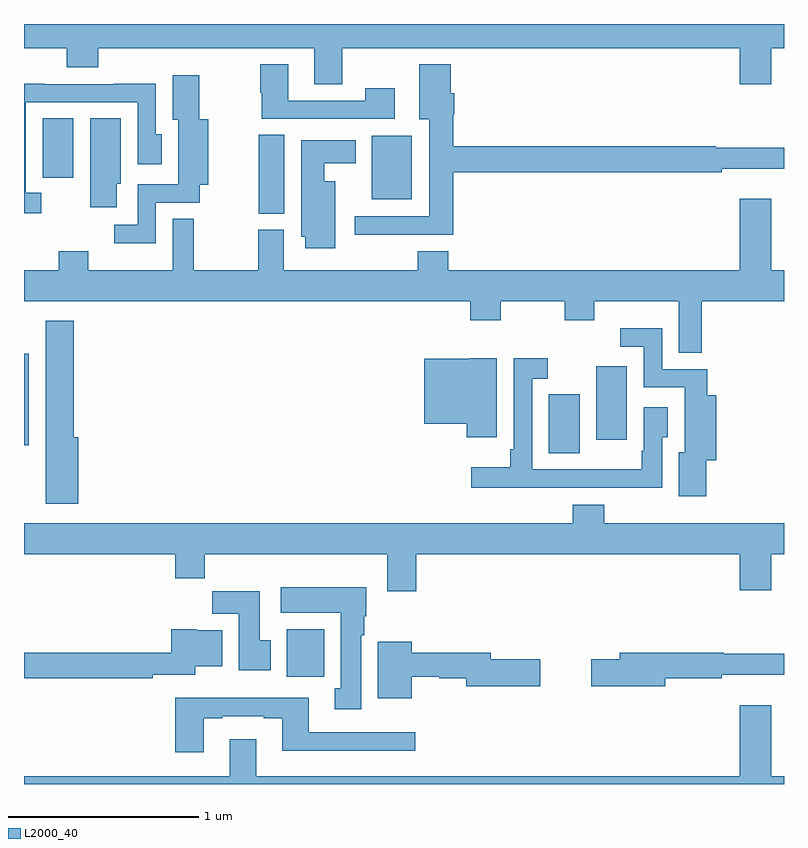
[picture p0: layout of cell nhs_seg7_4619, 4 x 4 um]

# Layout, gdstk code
import gdstk
lib = gdstk.Library(unit=1e-6, precision=1e-09)
def R(c, l, rs):  # rectangles x0, y0, x1, y1
    for r in rs: c.add(gdstk.rectangle(r[:2], r[2:], *l))
def P(c, l, *ps):  # polygons
    for p in ps: c.add(gdstk.Polygon(p, *l))
L2000_40 = (2000, 40)

nhs_seg7_4619 = lib.new_cell('nhs_seg7_4619')
R(nhs_seg7_4619, L2000_40, [(402.383,1074.564,402.579,1074.814), (403.763,1075.741,403.924,1076.052), (401,1075.782,401.025,1076.265), (404.012,1075.811,404.173,1076.2), (402.236,1077.001,402.37,1077.416), (402.83,1077.077,403.042,1077.412), (401.099,1077.192,401.26,1077.503)])
P(nhs_seg7_4619, L2000_40, [(402.675,1077.872),(404.768,1077.872),(404.768,1077.684),(404.932,1077.684),(404.932,1077.872),(405,1077.872),(405,1078),(401,1078),(401,1077.872),(401.225,1077.872),(401.225,1077.773),(401.39,1077.773),(401.39,1077.872),(402.527,1077.872),(402.527,1077.682),(402.675,1077.682)],
  [(402.952,1077.661),(402.796,1077.661),(402.796,1077.597),(402.391,1077.597),(402.391,1077.787),(402.244,1077.787),(402.244,1077.639),(402.251,1077.639),(402.251,1077.501),(402.952,1077.501)],
  [(403.259,1077.22),(404.672,1077.22),(404.672,1077.239),(405,1077.239),(405,1077.349),(404.641,1077.349),(404.641,1077.356),(403.259,1077.356),(403.259,1077.522),(403.264,1077.522),(403.264,1077.636),(403.246,1077.636),(403.246,1077.787),(403.079,1077.787),(403.079,1077.5),(403.133,1077.5),(403.133,1076.988),(402.741,1076.988),(402.741,1076.891),(403.259,1076.891)],
  [(401.694,1077.06),(401.924,1077.06),(401.924,1077.155),(401.971,1077.155),(401.971,1077.499),(401.922,1077.499),(401.922,1077.73),(401.783,1077.73),(401.783,1077.497),(401.813,1077.497),(401.813,1077.156),(401.598,1077.156),(401.598,1076.943),(401.475,1076.943),(401.475,1076.846),(401.694,1076.846)],
  [(401.092,1077.111),(401.01,1077.111),(401.01,1077.588),(401.598,1077.588),(401.598,1077.261),(401.725,1077.261),(401.725,1077.42),(401.694,1077.42),(401.694,1077.686),(401.473,1077.686),(401.473,1077.684),(401.107,1077.684),(401.107,1077.686),(401,1077.686),(401,1077.003),(401.092,1077.003)],
  [(401.488,1077.159),(401.509,1077.159),(401.509,1077.503),(401.348,1077.503),(401.348,1077.036),(401.488,1077.036)],
  [(402.637,1077.172),(402.58,1077.172),(402.58,1077.266),(402.745,1077.266),(402.745,1077.388),(402.458,1077.388),(402.458,1076.88),(402.479,1076.88),(402.479,1076.82),(402.637,1076.82)],
  [(404.566,1076.54),(405,1076.54),(405,1076.704),(404.932,1076.704),(404.932,1077.079),(404.768,1077.079),(404.768,1076.704),(403.232,1076.704),(403.232,1076.803),(403.072,1076.803),(403.072,1076.704),(402.367,1076.704),(402.367,1076.916),(402.232,1076.916),(402.232,1076.704),(401.894,1076.704),(401.894,1076.975),(401.783,1076.975),(401.783,1076.704),(401.337,1076.704),(401.337,1076.803),(401.182,1076.803),(401.182,1076.704),(401,1076.704),(401,1076.54),(403.349,1076.54),(403.349,1076.441),(403.509,1076.441),(403.509,1076.54),(403.846,1076.54),(403.846,1076.441),(404.001,1076.441),(404.001,1076.54),(404.447,1076.54),(404.447,1076.269),(404.566,1076.269)],
  [(401.285,1075.824),(401.261,1075.824),(401.261,1076.437),(401.114,1076.437),(401.114,1075.476),(401.285,1075.476)],
  [(404.591,1075.703),(404.643,1075.703),(404.643,1076.047),(404.596,1076.047),(404.596,1076.184),(404.358,1076.184),(404.358,1076.398),(404.139,1076.398),(404.139,1076.301),(404.262,1076.301),(404.262,1076.088),(404.477,1076.088),(404.477,1075.747),(404.447,1075.747),(404.447,1075.515),(404.591,1075.515)],
  [(403.489,1076.242),(403.347,1076.242),(403.347,1076.239),(403.106,1076.239),(403.106,1075.895),(403.331,1075.895),(403.331,1075.824),(403.489,1075.824)],
  [(403.771,1075.56),(404.137,1075.56),(404.137,1075.559),(404.358,1075.559),(404.358,1075.825),(404.389,1075.825),(404.389,1075.984),(404.262,1075.984),(404.262,1075.753),(404.25,1075.753),(404.25,1075.657),(404.02,1075.657),(404.02,1075.656),(403.674,1075.656),(403.674,1076.133),(403.756,1076.133),(403.756,1076.242),(403.578,1076.242),(403.578,1075.762),(403.558,1075.762),(403.558,1075.666),(403.353,1075.666),(403.353,1075.559),(403.771,1075.559)],
  [(403.064,1075.208),(404.768,1075.208),(404.768,1075.02),(404.932,1075.02),(404.932,1075.208),(405,1075.208),(405,1075.372),(404.054,1075.372),(404.054,1075.471),(403.889,1075.471),(403.889,1075.372),(401,1075.372),(401,1075.208),(401.795,1075.208),(401.795,1075.084),(401.951,1075.084),(401.951,1075.208),(402.911,1075.208),(402.911,1075.014),(403.064,1075.014)],
  [(402.775,1074.782),(402.79,1074.782),(402.79,1074.882),(402.802,1074.882),(402.802,1075.036),(402.351,1075.036),(402.351,1074.902),(402.668,1074.902),(402.668,1074.505),(402.635,1074.505),(402.635,1074.393),(402.775,1074.393)],
  [(402.298,1074.756),(402.241,1074.756),(402.241,1075.015),(401.992,1075.015),(401.992,1074.896),(402.131,1074.896),(402.131,1074.6),(402.298,1074.6)],
  [(401.678,1074.576),(401.902,1074.576),(401.902,1074.62),(402.043,1074.62),(402.043,1074.808),(401.91,1074.808),(401.91,1074.814),(401.774,1074.814),(401.774,1074.692),(401,1074.692),(401,1074.556),(401.678,1074.556)],
  [(403.042,1074.564),(403.185,1074.564),(403.185,1074.556),(403.328,1074.556),(403.328,1074.514),(403.717,1074.514),(403.717,1074.656),(403.456,1074.656),(403.456,1074.692),(403.042,1074.692),(403.042,1074.748),(402.863,1074.748),(402.863,1074.452),(403.042,1074.452)],
  [(404.374,1074.556),(404.672,1074.556),(404.672,1074.575),(405,1074.575),(405,1074.685),(404.684,1074.685),(404.684,1074.692),(404.135,1074.692),(404.135,1074.656),(403.986,1074.656),(403.986,1074.514),(404.374,1074.514)],
  [(401.947,1074.345),(402.043,1074.345),(402.043,1074.357),(402.263,1074.357),(402.263,1074.345),(402.359,1074.345),(402.359,1074.176),(403.06,1074.176),(403.06,1074.273),(402.499,1074.273),(402.499,1074.454),(401.795,1074.454),(401.795,1074.168),(401.947,1074.168)],
  [(405,1074.04),(404.932,1074.04),(404.932,1074.415),(404.768,1074.415),(404.768,1074.04),(402.223,1074.04),(402.223,1074.235),(402.083,1074.235),(402.083,1074.04),(401,1074.04),(401,1074),(405,1074)])

lib.write_gds('nhs_seg7_4619.gds')
